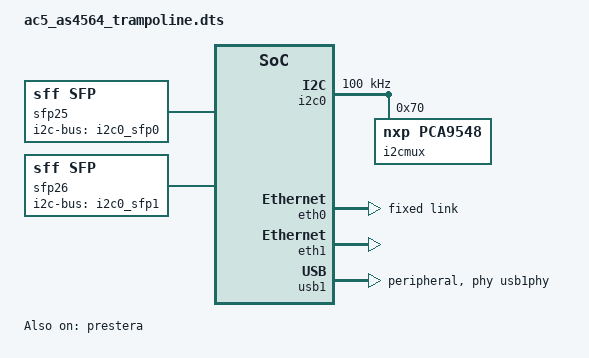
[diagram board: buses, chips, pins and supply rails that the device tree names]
// SPDX-License-Identifier: (GPL-2.0+ OR MIT)
/*
 * Device Tree For AC5_db.
 *
 * Copyright (C) 2021 Marvell
 *
 */
/*
 * Device Tree file for Marvell Alleycat 5 development board
 * This board file supports the B configuration of the board
 */
#include "ac5-4gb.dtsi"

/ {
	sfp25: sfp-25 {
		compatible = "sff,sfp";
		i2c-bus = <&i2c0_sfp0>;
		maximum-power-milliwatt = <2000>;
	};

	sfp26: sfp-26 {
		compatible = "sff,sfp";
		i2c-bus = <&i2c0_sfp1>;
		maximum-power-milliwatt = <2000>;
	};
};

&i2c0 {
	status = "okay";
	clock-frequency = <100000>;
	i2cmux@70 {
		compatible = "nxp,pca9548";
		reg = <0x70>;
		#address-cells = <1>;
		#size-cells = <0>;
	i2c-mux-idle-disconnect;

		i2c0_sfp0: i2c@2 {
			reg = <2>;
			#address-cells = <1>;
			#size-cells = <0>;
		};
		i2c0_sfp1: i2c@3 {
			reg = <3>;
			#address-cells = <1>;
			#size-cells = <0>;
		};
	};
};

&eth0 {
	status = "okay";
	fixed-link {
		speed = <1000>;
		full-duplex;
	};
};

&eth1 {
	status = "okay";
};

&usb1 {
	compatible = "chipidea,usb2";
	phys = <&usb1phy>;
	phy-names = "usb-phy";
	dr_mode = "peripheral";
};

&prestera {
	compatible = "marvell,prestera";
	status = "okay";
	reg = <0x0 0x7F900000 0x0 0x40000>;
	ports {
		port25 {
			prestera,port-num = <25>;
			sfp = <&sfp25>;
		};
		port26 {
			prestera,port-num = <26>;
			sfp = <&sfp26>;
		};
	};
};

&sfp25 {
	status = "okay";
};

&sfp26 {
	status = "okay";
};

